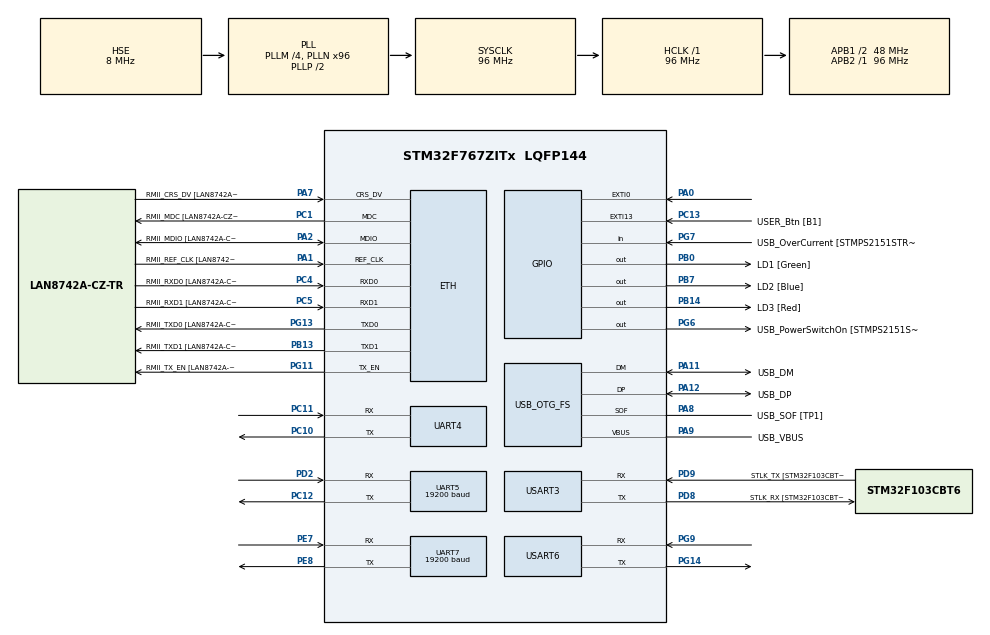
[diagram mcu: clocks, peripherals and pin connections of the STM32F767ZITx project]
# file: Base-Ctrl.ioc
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ETH.MediaInterface=HAL_ETH_RMII_MODE
ETH.PHY_Name=LAN8742A_PHY_ADDRESS
ETH.PHY_Value=0
ETH.PhyAddress=0
Mcu.Family=STM32F7
Mcu.Name=STM32F767ZITx
Mcu.Package=LQFP144
NVIC.PriorityGroup=NVIC_PRIORITYGROUP_4
NVIC.TIM1_BRK_TIM9_IRQn=true\:0\:0\:false\:false\:true\:true\:true\:true
NVIC.UART4_IRQn=true\:0\:0\:false\:false\:true\:true\:true\:true
NVIC.UART5_IRQn=true\:0\:0\:false\:false\:true\:true\:true\:true
NVIC.UART7_IRQn=true\:0\:0\:false\:false\:true\:true\:true\:true
NVIC.USART6_IRQn=true\:0\:0\:false\:false\:true\:true\:true\:true
PA0/WKUP.Signal=GPXTI0
PA1.GPIO_Label=RMII_REF_CLK [LAN8742A-CZ-TR_REFCLK0]
PA1.Mode=RMII
PA1.Signal=ETH_REF_CLK
PA10.GPIO_Label=USB_ID
PA10.Signal=USB_OTG_FS_ID
PA11.GPIO_Label=USB_DM
PA11.Mode=Device_Only
PA11.Signal=USB_OTG_FS_DM
PA12.GPIO_Label=USB_DP
PA12.Mode=Device_Only
PA12.Signal=USB_OTG_FS_DP
PA13.GPIO_Label=TMS
PA13.Mode=Serial_Wire
PA13.Signal=SYS_JTMS-SWDIO
PA14.GPIO_Label=TCK
PA14.Mode=Serial_Wire
PA14.Signal=SYS_JTCK-SWCLK
PA2.GPIO_Label=RMII_MDIO [LAN8742A-CZ-TR_MDIO]
PA2.Mode=RMII
PA2.Signal=ETH_MDIO
PA7.GPIO_Label=RMII_CRS_DV [LAN8742A-CZ-TR_CRS_DV]
PA7.Mode=RMII
PA7.Signal=ETH_CRS_DV
PA8.GPIO_Label=USB_SOF [TP1]
PA8.Mode=Activate_SOF_FS
PA8.Signal=USB_OTG_FS_SOF
PA9.GPIO_Label=USB_VBUS
PA9.Mode=Activate_VBUS
PA9.Signal=USB_OTG_FS_VBUS
PB0.GPIO_Label=LD1 [Green]
PB0.Signal=GPIO_Output
PB13.GPIO_Label=RMII_TXD1 [LAN8742A-CZ-TR_TXD1]
PB13.Mode=RMII
PB13.Signal=ETH_TXD1
PB14.GPIO_Label=LD3 [Red]
PB14.Signal=GPIO_Output
PB3.GPIO_Label=SWO
PB3.Signal=SYS_JTDO-SWO
PB7.GPIO_Label=LD2 [Blue]
PB7.Signal=GPIO_Output
PC1.GPIO_Label=RMII_MDC [LAN8742A-CZ-TR_MDC]
PC1.Mode=RMII
PC1.Signal=ETH_MDC
PC10.Mode=Asynchronous
PC10.Signal=UART4_TX
PC11.Mode=Asynchronous
PC11.Signal=UART4_RX
PC12.Mode=Asynchronous
PC12.Signal=UART5_TX
PC13.GPIO_Label=USER_Btn [B1]
PC13.Signal=GPXTI13
PC14/OSC32_IN.Mode=LSE-External-Oscillator
PC14/OSC32_IN.Signal=RCC_OSC32_IN
PC15/OSC32_OUT.Mode=LSE-External-Oscillator
PC15/OSC32_OUT.Signal=RCC_OSC32_OUT
PC4.GPIO_Label=RMII_RXD0 [LAN8742A-CZ-TR_RXD0]
PC4.Mode=RMII
PC4.Signal=ETH_RXD0
PC5.GPIO_Label=RMII_RXD1 [LAN8742A-CZ-TR_RXD1]
PC5.Mode=RMII
PC5.Signal=ETH_RXD1
PD2.Mode=Asynchronous
PD2.Signal=UART5_RX
PD8.GPIO_Label=STLK_RX [STM32F103CBT6_PA3]
PD8.Mode=Asynchronous
PD8.Signal=USART3_TX
PD9.GPIO_Label=STLK_TX [STM32F103CBT6_PA2]
PD9.Mode=Asynchronous
PD9.Signal=USART3_RX
PE7.Mode=Asynchronous
PE7.Signal=UART7_RX
PE8.Mode=Asynchronous
PE8.Signal=UART7_TX
PG11.GPIO_Label=RMII_TX_EN [LAN8742A-CZ-TR_TXEN]
PG11.Mode=RMII
PG11.Signal=ETH_TX_EN
PG13.GPIO_Label=RMII_TXD0 [LAN8742A-CZ-TR_TXD0]
PG13.Mode=RMII
PG13.Signal=ETH_TXD0
PG14.Mode=Asynchronous
PG14.Signal=USART6_TX
PG6.GPIO_Label=USB_PowerSwitchOn [STMPS2151STR_EN]
PG6.Signal=GPIO_Output
PG7.GPIO_Label=USB_OverCurrent [STMPS2151STR_FAULT]
PG7.Signal=GPIO_Input
PG9.Mode=Asynchronous
PG9.Signal=USART6_RX
PH0/OSC_IN.GPIO_Label=MCO [STM32F103CBT6_PA8]
PH0/OSC_IN.Mode=HSE-External-Clock-Source
PH0/OSC_IN.Signal=RCC_OSC_IN
PH1/OSC_OUT.Mode=HSE-External-Clock-Source
PH1/OSC_OUT.Signal=RCC_OSC_OUT
ProjectManager.HeapSize=0x200
ProjectManager.StackSize=0x400
ProjectManager.TargetToolchain=STM32CubeIDE
RCC.48MHZClocksFreq_Value=24000000
RCC.AHBFreq_Value=96000000
RCC.APB1CLKDivider=RCC_HCLK_DIV2
RCC.APB1Freq_Value=48000000
RCC.APB1TimFreq_Value=96000000
RCC.APB2Freq_Value=96000000
RCC.APB2TimFreq_Value=96000000
RCC.CortexFreq_Value=96000000
RCC.HCLKFreq_Value=96000000
RCC.HSE_VALUE=8000000
RCC.HSI_VALUE=16000000
RCC.PLLM=4
RCC.PLLMUL=RCC_PLL_MUL9
RCC.PLLN=96
RCC.PLLQ=4
RCC.PRESCALERUSB=RCC_USBCLKSOURCE_PLL_DIV1_5
RCC.SYSCLKFreq_VALUE=96000000
RCC.SYSCLKSource=RCC_SYSCLKSOURCE_PLLCLK
RCC.SYSCLKSourceVirtual=RCC_SYSCLKSOURCE_PLLCLK
RCC.USBFreq_Value=48000000
RCC.VCOOutputFreq_Value=192000000
TIM9.Period=47999
UART5.BaudRate=19200
UART7.BaudRate=19200
USART3.VirtualMode-Asynchronous=VM_ASYNC
USART6.VirtualMode-Asynchronous=VM_ASYNC
USB_OTG_FS.VirtualMode=Device_Only
VP_TIM4_VS_ClockSourceITR.Mode=TriggerSource_ITR0
VP_TIM4_VS_ControllerModeClock.Mode=Clock Mode
VP_TIM9_VS_ClockSourceINT.Mode=Internal
board=NUCLEO-F767ZI

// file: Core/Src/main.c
/* USER CODE BEGIN Header */
/**
  ******************************************************************************
  * @file           : main.c
  * @brief          : Main program body
  ******************************************************************************
  * @attention
  *
  * Copyright (c) 2026 STMicroelectronics.
  * All rights reserved.
  *
  * This software is licensed under terms that can be found in the LICENSE file
  * in the root directory of this software component.
  * If no LICENSE file comes with this software, it is provided AS-IS.
  *
  ******************************************************************************
  */
/* USER CODE END Header */
#include "main.h"
#include "string.h"

/* USER CODE BEGIN Includes */
#include "bldc_interface.h"
#include "bldc_interface_uart.h"
#include "bldc_interface1.h"
#include "bldc_interface_uart1.h"
#include <math.h>
#include <stdio.h>

/* USER CODE END Includes */

/* USER CODE BEGIN PD */
#define DUTY 	1
#define CURRENT 2
#define BRAKE 	3
/* USER CODE END PD */

/* USER CODE BEGIN PM */
#define XUP	0x7C
#define XDN 0x72
#define YUP 0x68
#define YDN 0x5E
/* USER CODE END PM */

#if defined ( __ICCARM__ ) /*!< IAR Compiler */
#pragma location=0x2007c000
ETH_DMADescTypeDef  DMARxDscrTab[ETH_RX_DESC_CNT]; /* Ethernet Rx DMA Descriptors */
#pragma location=0x2007c0a0
ETH_DMADescTypeDef  DMATxDscrTab[ETH_TX_DESC_CNT]; /* Ethernet Tx DMA Descriptors */

#elif defined ( __CC_ARM )  /* MDK ARM Compiler */

__attribute__((at(0x2007c000))) ETH_DMADescTypeDef  DMARxDscrTab[ETH_RX_DESC_CNT]; /* Ethernet Rx DMA Descriptors */
__attribute__((at(0x2007c0a0))) ETH_DMADescTypeDef  DMATxDscrTab[ETH_TX_DESC_CNT]; /* Ethernet Tx DMA Descriptors */

#elif defined ( __GNUC__ ) /* GNU Compiler */

ETH_DMADescTypeDef DMARxDscrTab[ETH_RX_DESC_CNT] __attribute__((section(".RxDecripSection"))); /* Ethernet Rx DMA Descriptors */
ETH_DMADescTypeDef DMATxDscrTab[ETH_TX_DESC_CNT] __attribute__((section(".TxDecripSection")));   /* Ethernet Tx DMA Descriptors */
#endif

ETH_TxPacketConfig TxConfig;

ETH_HandleTypeDef heth;

TIM_HandleTypeDef htim4;
TIM_HandleTypeDef htim9;

UART_HandleTypeDef huart4;
UART_HandleTypeDef huart5;
UART_HandleTypeDef huart7;
UART_HandleTypeDef huart3;
UART_HandleTypeDef huart6;

PCD_HandleTypeDef hpcd_USB_OTG_FS;

/* USER CODE BEGIN PV */
uint16_t ms = 0;
uint16_t ss = 0;
unsigned char vesc_buff;
unsigned char esp_buff[4];
int input = 0;
/* USER CODE END PV */

void SystemClock_Config(void);
static void MX_GPIO_Init(void);
static void MX_ETH_Init(void);
static void MX_USART3_UART_Init(void);
static void MX_USB_OTG_FS_PCD_Init(void);
static void MX_UART4_Init(void);
static void MX_UART5_Init(void);
static void MX_UART7_Init(void);
static void MX_USART6_UART_Init(void);
static void MX_TIM4_Init(void);
static void MX_TIM9_Init(void);

/* USER CODE BEGIN 0 */
void send_left(unsigned char *data, unsigned int len);
void send_right(unsigned char *data, unsigned int len);
/* USER CODE END 0 */

int main(void)
{

  /* MCU Configuration--------------------------------------------------------*/

  /* Reset of all peripherals, Initializes the Flash interface and the Systick. */
  HAL_Init();

  /* USER CODE BEGIN Init */
  bldc_interface_uart_init(send_left);
  //bldc_interface_uart_init1(send_right);
  /* USER CODE END Init */

  /* Configure the system clock */
  SystemClock_Config();

  /* USER CODE BEGIN SysInit */
  HAL_UART_Receive_IT(&huart5, &vesc_buff, 1);
  HAL_UART_Receive_IT(&huart4, (uint8_t*)esp_buff, 4);
  /* USER CODE END SysInit */

  /* Initialize all configured peripherals */
  MX_GPIO_Init();
  MX_ETH_Init();
  MX_USART3_UART_Init();
  MX_USB_OTG_FS_PCD_Init();
  MX_UART4_Init();
  MX_UART5_Init();
  MX_UART7_Init();
  MX_USART6_UART_Init();
  MX_TIM4_Init();
  MX_TIM9_Init();
  /* USER CODE BEGIN 2 */
  float time_cur;
  float time_las = 0.0;
  float input_x, input_y;
  float throttle_des1 = 0.0;
  float throttle_des2 = 0.0;
  float throttle_cur1 = 0.0;
  float throttle_cur2 = 0.0;
  char esp_xy[15];
  int step = 0;
  memset(esp_xy, 0, sizeof(esp_xy));
  /* USER CODE END 2 */

  /* Infinite loop */
  /* USER CODE BEGIN WHILE */
  HAL_TIM_Base_Start_IT(&htim9);
  while (1) {
	  time_cur = (float)ss + (float)ms / 1000.0;

	  if (input == 1) {
		  input = 0;
		  for (int i = 0; i < 4; i++) {
			  if (esp_buff[i] == 0xAA) {
				  esp_xy[0] = esp_buff[i+2];
				  esp_xy[1] = esp_buff[i+1];

				  //joystick x input value
				  if (esp_buff[i+2] > XUP) {
					  input_x = (float)(esp_buff[i+2] - XUP) / (float)(0xFF - XUP);
				  }
				  else if (esp_buff[i+2] < XDN) {
					  input_x = (float)(esp_buff[i+2] - XDN) / (float)(XDN);
				  }
				  else {
					  input_x = 0.0;
				  }

				  //joystick y input value
				  if (esp_buff[i+1] > YUP) {
					  input_y = (float)(esp_buff[i+1] - YUP) / (float)(0xFF - YUP);
				  }
				  else if (esp_buff[i+1] < YDN) {
					  input_y = (float)(esp_buff[i+1] - YDN) / (float)(YDN);
				  }
				  else {
					  input_y = 0.0;
				  }

				  throttle_des1 = (input_x + input_y) / 2.0;
				  throttle_des2 = (input_x - input_y) / 2.0;
				  //sprintf(esp_xy, "%.2f|%.2f", throttle_cur1, throttle_cur2);
				  //HAL_UART_Transmit(&huart3, &esp_xy, 10, 1000);
				  break;
			  }
			  /*if (esp_buff[i] == 0xAA && esp_buff[i+1] > 0x80) {
				  throttle_des1 = (float)(esp_buff[i+1] - 0x80) / (float)(0xFF-0x80) * 0.5;
				  break;
			  } else if (esp_buff[i] == 0xAA && esp_buff[i+1] <= 0x80) {
				  throttle_des = 0.0;
				  throttle_cur = throttle_des;
				  break;
			  }*/
		  }
	  }

	  if (time_cur - time_las >= .01) {
		  time_las = time_cur;

		  switch (step) {
		  case 0:
			  if (throttle_des1 != 0.0) {bldc_interface_set_duty_cycle(throttle_cur1);}
			  step = 1;
			  break;
		  case 1:
			  bldc_interface_uart_init(send_right);
			  step = 2;
			  break;
		  case 2:
			  if (throttle_des2 != 0.0) {bldc_interface_set_duty_cycle(throttle_cur2);}
			  step = 3;
			  break;
		  case 3:
			  bldc_interface_uart_init(send_left);
			  step = 0;
			  break;
		  }

		  if (throttle_cur1 < throttle_des1) {throttle_cur1 += 0.001;}
		  else if (throttle_cur1 > throttle_des1) {throttle_cur1 -= 0.001;}

		  if (throttle_cur2 < throttle_des2) {throttle_cur2 += 0.001;}
		  else if (throttle_cur2 > throttle_des2) {throttle_cur2 -= 0.001;}

		  /*HAL_GPIO_TogglePin(GPIOB, GPIO_PIN_0);
		  if (throttle_cur != 0.0) {
			  bldc_interface_set_duty_cycle(&vesc1, throttle_cur);
			  bldc_interface_set_duty_cycle(&vesc2, throttle_cur);
		  }
		  time_las = time_cur;
		  if (throttle_cur < throttle_des) {
			  throttle_cur += 0.001;
		  } else if (throttle_cur > throttle_des) {
			  throttle_cur -= 0.001;
		  }*/
	  }
    /* USER CODE END WHILE */

  }
}

void SystemClock_Config(void)
{
  RCC_OscInitTypeDef RCC_OscInitStruct = {0};
  RCC_ClkInitTypeDef RCC_ClkInitStruct = {0};

  /** Configure LSE Drive Capability
  */
  HAL_PWR_EnableBkUpAccess();

  /** Configure the main internal regulator output voltage
  */
  __HAL_RCC_PWR_CLK_ENABLE();
  __HAL_PWR_VOLTAGESCALING_CONFIG(PWR_REGULATOR_VOLTAGE_SCALE3);

  /** Initializes the RCC Oscillators according to the specified parameters
  * in the RCC_OscInitTypeDef structure.
  */
  RCC_OscInitStruct.OscillatorType = RCC_OSCILLATORTYPE_HSE;
  RCC_OscInitStruct.HSEState = RCC_HSE_BYPASS;
  RCC_OscInitStruct.PLL.PLLState = RCC_PLL_ON;
  RCC_OscInitStruct.PLL.PLLSource = RCC_PLLSOURCE_HSE;
  RCC_OscInitStruct.PLL.PLLM = 4;
  RCC_OscInitStruct.PLL.PLLN = 96;
  RCC_OscInitStruct.PLL.PLLP = RCC_PLLP_DIV2;
  RCC_OscInitStruct.PLL.PLLQ = 4;
  RCC_OscInitStruct.PLL.PLLR = 2;
  if (HAL_RCC_OscConfig(&RCC_OscInitStruct) != HAL_OK)
  {
    Error_Handler();
  }

  /** Activate the Over-Drive mode
  */
  if (HAL_PWREx_EnableOverDrive() != HAL_OK)
  {
    Error_Handler();
  }

  /** Initializes the CPU, AHB and APB buses clocks
  */
  RCC_ClkInitStruct.ClockType = RCC_CLOCKTYPE_HCLK|RCC_CLOCKTYPE_SYSCLK
                              |RCC_CLOCKTYPE_PCLK1|RCC_CLOCKTYPE_PCLK2;
  RCC_ClkInitStruct.SYSCLKSource = RCC_SYSCLKSOURCE_PLLCLK;
  RCC_ClkInitStruct.AHBCLKDivider = RCC_SYSCLK_DIV1;
  RCC_ClkInitStruct.APB1CLKDivider = RCC_HCLK_DIV2;
  RCC_ClkInitStruct.APB2CLKDivider = RCC_HCLK_DIV1;

  if (HAL_RCC_ClockConfig(&RCC_ClkInitStruct, FLASH_LATENCY_3) != HAL_OK)
  {
    Error_Handler();
  }
}

static void MX_ETH_Init(void)
{

   static uint8_t MACAddr[6];

  heth.Instance = ETH;
  MACAddr[0] = 0x00;
  MACAddr[1] = 0x80;
  MACAddr[2] = 0xE1;
  MACAddr[3] = 0x00;
  MACAddr[4] = 0x00;
  MACAddr[5] = 0x00;
  heth.Init.MACAddr = &MACAddr[0];
  heth.Init.MediaInterface = HAL_ETH_RMII_MODE;
  heth.Init.TxDesc = DMATxDscrTab;
  heth.Init.RxDesc = DMARxDscrTab;
  heth.Init.RxBuffLen = 1524;

  if (HAL_ETH_Init(&heth) != HAL_OK)
  {
    Error_Handler();
  }

  memset(&TxConfig, 0 , sizeof(ETH_TxPacketConfig));
  TxConfig.Attributes = ETH_TX_PACKETS_FEATURES_CSUM | ETH_TX_PACKETS_FEATURES_CRCPAD;
  TxConfig.ChecksumCtrl = ETH_CHECKSUM_IPHDR_PAYLOAD_INSERT_PHDR_CALC;
  TxConfig.CRCPadCtrl = ETH_CRC_PAD_INSERT;

}

static void MX_TIM4_Init(void)
{

  TIM_SlaveConfigTypeDef sSlaveConfig = {0};
  TIM_MasterConfigTypeDef sMasterConfig = {0};

  htim4.Instance = TIM4;
  htim4.Init.Prescaler = 0;
  htim4.Init.CounterMode = TIM_COUNTERMODE_UP;
  htim4.Init.Period = 65535;
  htim4.Init.ClockDivision = TIM_CLOCKDIVISION_DIV1;
  htim4.Init.AutoReloadPreload = TIM_AUTORELOAD_PRELOAD_DISABLE;
  if (HAL_TIM_Base_Init(&htim4) != HAL_OK)
  {
    Error_Handler();
  }
  sSlaveConfig.SlaveMode = TIM_SLAVEMODE_EXTERNAL1;
  sSlaveConfig.InputTrigger = TIM_TS_ITR0;
  if (HAL_TIM_SlaveConfigSynchro(&htim4, &sSlaveConfig) != HAL_OK)
  {
    Error_Handler();
  }
  sMasterConfig.MasterOutputTrigger = TIM_TRGO_RESET;
  sMasterConfig.MasterSlaveMode = TIM_MASTERSLAVEMODE_DISABLE;
  if (HAL_TIMEx_MasterConfigSynchronization(&htim4, &sMasterConfig) != HAL_OK)
  {
    Error_Handler();
  }

}

static void MX_TIM9_Init(void)
{

  TIM_ClockConfigTypeDef sClockSourceConfig = {0};

  htim9.Instance = TIM9;
  htim9.Init.Prescaler = 0;
  htim9.Init.CounterMode = TIM_COUNTERMODE_UP;
  htim9.Init.Period = 47999;
  htim9.Init.ClockDivision = TIM_CLOCKDIVISION_DIV1;
  htim9.Init.AutoReloadPreload = TIM_AUTORELOAD_PRELOAD_DISABLE;
  if (HAL_TIM_Base_Init(&htim9) != HAL_OK)
  {
    Error_Handler();
  }
  sClockSourceConfig.ClockSource = TIM_CLOCKSOURCE_INTERNAL;
  if (HAL_TIM_ConfigClockSource(&htim9, &sClockSourceConfig) != HAL_OK)
  {
    Error_Handler();
  }

}

static void MX_UART4_Init(void)
{

  huart4.Instance = UART4;
  huart4.Init.BaudRate = 115200;
  huart4.Init.WordLength = UART_WORDLENGTH_8B;
  huart4.Init.StopBits = UART_STOPBITS_1;
  huart4.Init.Parity = UART_PARITY_NONE;
  huart4.Init.Mode = UART_MODE_TX_RX;
  huart4.Init.HwFlowCtl = UART_HWCONTROL_NONE;
  huart4.Init.OverSampling = UART_OVERSAMPLING_16;
  huart4.Init.OneBitSampling = UART_ONE_BIT_SAMPLE_DISABLE;
  huart4.AdvancedInit.AdvFeatureInit = UART_ADVFEATURE_NO_INIT;
  if (HAL_UART_Init(&huart4) != HAL_OK)
  {
    Error_Handler();
  }

}

static void MX_UART5_Init(void)
{

  huart5.Instance = UART5;
  huart5.Init.BaudRate = 19200;
  huart5.Init.WordLength = UART_WORDLENGTH_8B;
  huart5.Init.StopBits = UART_STOPBITS_1;
  huart5.Init.Parity = UART_PARITY_NONE;
  huart5.Init.Mode = UART_MODE_TX_RX;
  huart5.Init.HwFlowCtl = UART_HWCONTROL_NONE;
  huart5.Init.OverSampling = UART_OVERSAMPLING_16;
  huart5.Init.OneBitSampling = UART_ONE_BIT_SAMPLE_DISABLE;
  huart5.AdvancedInit.AdvFeatureInit = UART_ADVFEATURE_NO_INIT;
  if (HAL_UART_Init(&huart5) != HAL_OK)
  {
    Error_Handler();
  }

}

static void MX_UART7_Init(void)
{

  huart7.Instance = UART7;
  huart7.Init.BaudRate = 19200;
  huart7.Init.WordLength = UART_WORDLENGTH_8B;
  huart7.Init.StopBits = UART_STOPBITS_1;
  huart7.Init.Parity = UART_PARITY_NONE;
  huart7.Init.Mode = UART_MODE_TX_RX;
  huart7.Init.HwFlowCtl = UART_HWCONTROL_NONE;
  huart7.Init.OverSampling = UART_OVERSAMPLING_16;
  huart7.Init.OneBitSampling = UART_ONE_BIT_SAMPLE_DISABLE;
  huart7.AdvancedInit.AdvFeatureInit = UART_ADVFEATURE_NO_INIT;
  if (HAL_UART_Init(&huart7) != HAL_OK)
  {
    Error_Handler();
  }

}

static void MX_USART3_UART_Init(void)
{

  huart3.Instance = USART3;
  huart3.Init.BaudRate = 115200;
  huart3.Init.WordLength = UART_WORDLENGTH_8B;
  huart3.Init.StopBits = UART_STOPBITS_1;
  huart3.Init.Parity = UART_PARITY_NONE;
  huart3.Init.Mode = UART_MODE_TX_RX;
  huart3.Init.HwFlowCtl = UART_HWCONTROL_NONE;
  huart3.Init.OverSampling = UART_OVERSAMPLING_16;
  huart3.Init.OneBitSampling = UART_ONE_BIT_SAMPLE_DISABLE;
  huart3.AdvancedInit.AdvFeatureInit = UART_ADVFEATURE_NO_INIT;
  if (HAL_UART_Init(&huart3) != HAL_OK)
  {
    Error_Handler();
  }

}

static void MX_USART6_UART_Init(void)
{

  huart6.Instance = USART6;
  huart6.Init.BaudRate = 115200;
  huart6.Init.WordLength = UART_WORDLENGTH_8B;
  huart6.Init.StopBits = UART_STOPBITS_1;
  huart6.Init.Parity = UART_PARITY_NONE;
  huart6.Init.Mode = UART_MODE_TX_RX;
  huart6.Init.HwFlowCtl = UART_HWCONTROL_NONE;
  huart6.Init.OverSampling = UART_OVERSAMPLING_16;
  huart6.Init.OneBitSampling = UART_ONE_BIT_SAMPLE_DISABLE;
  huart6.AdvancedInit.AdvFeatureInit = UART_ADVFEATURE_NO_INIT;
  if (HAL_UART_Init(&huart6) != HAL_OK)
  {
    Error_Handler();
  }

}

static void MX_USB_OTG_FS_PCD_Init(void)
{

  hpcd_USB_OTG_FS.Instance = USB_OTG_FS;
  hpcd_USB_OTG_FS.Init.dev_endpoints = 6;
  hpcd_USB_OTG_FS.Init.speed = PCD_SPEED_FULL;
  hpcd_USB_OTG_FS.Init.dma_enable = DISABLE;
  hpcd_USB_OTG_FS.Init.phy_itface = PCD_PHY_EMBEDDED;
  hpcd_USB_OTG_FS.Init.Sof_enable = ENABLE;
  hpcd_USB_OTG_FS.Init.low_power_enable = DISABLE;
  hpcd_USB_OTG_FS.Init.lpm_enable = DISABLE;
  hpcd_USB_OTG_FS.Init.vbus_sensing_enable = ENABLE;
  hpcd_USB_OTG_FS.Init.use_dedicated_ep1 = DISABLE;
  if (HAL_PCD_Init(&hpcd_USB_OTG_FS) != HAL_OK)
  {
    Error_Handler();
  }

}

static void MX_GPIO_Init(void)
{
  GPIO_InitTypeDef GPIO_InitStruct = {0};

  /* GPIO Ports Clock Enable */
  __HAL_RCC_GPIOC_CLK_ENABLE();
  __HAL_RCC_GPIOH_CLK_ENABLE();
  __HAL_RCC_GPIOA_CLK_ENABLE();
  __HAL_RCC_GPIOB_CLK_ENABLE();
  __HAL_RCC_GPIOE_CLK_ENABLE();
  __HAL_RCC_GPIOD_CLK_ENABLE();
  __HAL_RCC_GPIOG_CLK_ENABLE();

  /*Configure GPIO pin Output Level */
  HAL_GPIO_WritePin(GPIOB, LD1_Pin|LD3_Pin|LD2_Pin, GPIO_PIN_RESET);

  /*Configure GPIO pin Output Level */
  HAL_GPIO_WritePin(USB_PowerSwitchOn_GPIO_Port, USB_PowerSwitchOn_Pin, GPIO_PIN_RESET);

  /*Configure GPIO pin : USER_Btn_Pin */
  GPIO_InitStruct.Pin = USER_Btn_Pin;
  GPIO_InitStruct.Mode = GPIO_MODE_IT_RISING;
  GPIO_InitStruct.Pull = GPIO_NOPULL;
  HAL_GPIO_Init(USER_Btn_GPIO_Port, &GPIO_InitStruct);

  /*Configure GPIO pin : PA0 */
  GPIO_InitStruct.Pin = GPIO_PIN_0;
  GPIO_InitStruct.Mode = GPIO_MODE_IT_RISING;
  GPIO_InitStruct.Pull = GPIO_NOPULL;
  HAL_GPIO_Init(GPIOA, &GPIO_InitStruct);

  /*Configure GPIO pins : LD1_Pin LD3_Pin LD2_Pin */
  GPIO_InitStruct.Pin = LD1_Pin|LD3_Pin|LD2_Pin;
  GPIO_InitStruct.Mode = GPIO_MODE_OUTPUT_PP;
  GPIO_InitStruct.Pull = GPIO_NOPULL;
  GPIO_InitStruct.Speed = GPIO_SPEED_FREQ_LOW;
  HAL_GPIO_Init(GPIOB, &GPIO_InitStruct);

  /*Configure GPIO pin : USB_PowerSwitchOn_Pin */
  GPIO_InitStruct.Pin = USB_PowerSwitchOn_Pin;
  GPIO_InitStruct.Mode = GPIO_MODE_OUTPUT_PP;
  GPIO_InitStruct.Pull = GPIO_NOPULL;
  GPIO_InitStruct.Speed = GPIO_SPEED_FREQ_LOW;
  HAL_GPIO_Init(USB_PowerSwitchOn_GPIO_Port, &GPIO_InitStruct);

  /*Configure GPIO pin : USB_OverCurrent_Pin */
  GPIO_InitStruct.Pin = USB_OverCurrent_Pin;
  GPIO_InitStruct.Mode = GPIO_MODE_INPUT;
  GPIO_InitStruct.Pull = GPIO_NOPULL;
  HAL_GPIO_Init(USB_OverCurrent_GPIO_Port, &GPIO_InitStruct);

}

/* USER CODE BEGIN 4 */
/**
 *  @brief  Send command packet to VESC via UART
 *  @param  *data: pointer to data buffer
 *          len: length of data buffer
 *  @retval None
 *
 */
void send_left(unsigned char *data, unsigned int len) {
	HAL_UART_Transmit_IT(&huart5, data, len);
}
void send_right(unsigned char *data, unsigned int len) {
	HAL_UART_Transmit_IT(&huart7, data, len);
}

/**
  * @brief  This function is executed upon completion of UART_RX interrupt
  * @param  *huart: pointer to uart instance
  * @retval None
  *
  **/
void HAL_UART_RxCpltCallback(UART_HandleTypeDef *huart) {
	if (huart->Instance == UART5) {
		bldc_interface_uart_process_byte(vesc_buff);

		HAL_UART_Receive_IT(&huart5, &vesc_buff, 1);
	} else if (huart->Instance == UART4) {
		input = 1;
		HAL_GPIO_TogglePin(GPIOB, GPIO_PIN_0);
		HAL_UART_Receive_IT(&huart4, (uint8_t*)esp_buff, 4);
	}
}

/**
 *  @brief  Timer interrupt callback for polling loops
 *  @param  *htim: pointer to timer instance
 *  @retval None
 *
 */
void HAL_TIM_PeriodElapsedCallback(TIM_HandleTypeDef* htim) {
	ms++;
	if (ms >= 1000) {
		ms -= 1000;
		ss++;
	}
}

/* USER CODE END 4 */

void Error_Handler(void)
{
  __disable_irq();
  while (1)
  {
  }
}
